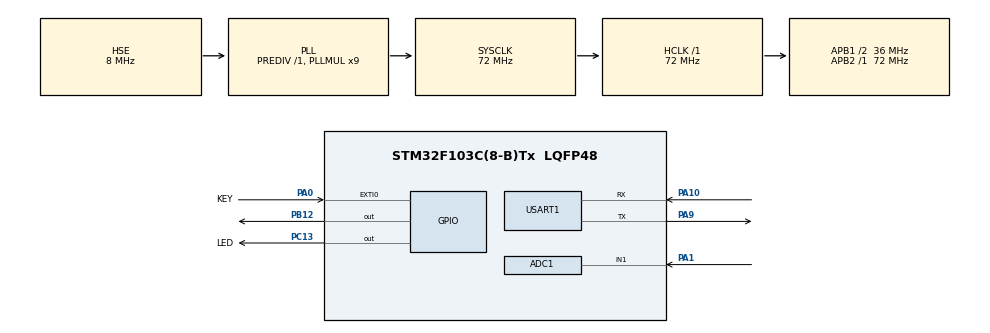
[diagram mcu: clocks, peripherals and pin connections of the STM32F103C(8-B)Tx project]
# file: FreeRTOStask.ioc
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ADC1.Channel-0\#ChannelRegularConversion=ADC_CHANNEL_1
ADC1.NbrOfConversionFlag=1
ADC1.Rank-0\#ChannelRegularConversion=1
ADC1.SamplingTime-0\#ChannelRegularConversion=ADC_SAMPLETIME_1CYCLE_5
ADC1.master=1
FREERTOS.BinarySemaphores01=keySem,Dynamic,NULL,Depleted
FREERTOS.CountingSemaphores01=timSem,5,Dynamic,NULL,0
FREERTOS.Events01=sensorEvent,Dynamic,NULL
FREERTOS.Mutexes01=uartMutex,Dynamic,NULL,Available
FREERTOS.Queues01=adcDataQueue,8,12,1,Dynamic,NULL,NULL;ledCmdQueue,16,uint8_t,0,Dynamic,NULL,NULL
FREERTOS.Tasks01=SampleTask,24,128,StartSampleTask,Default,NULL,Dynamic,NULL,NULL;ProcessTask,40,128,StartProcessTask,Default,NULL,Dynamic,NULL,NULL;LedTask,16,128,StartLedTask,Default,NULL,Dynamic,NULL,NULL;KeyTask,32,128,StartKeyTask,Default,NULL,Dynamic,NULL,NULL
FREERTOS.configTOTAL_HEAP_SIZE=8192
Mcu.Family=STM32F1
Mcu.Name=STM32F103C(8-B)Tx
Mcu.Package=LQFP48
NVIC.EXTI0_IRQn=true\:6\:0\:true\:false\:true\:true\:true\:true\:true
NVIC.PriorityGroup=NVIC_PRIORITYGROUP_4
NVIC.TIM2_IRQn=true\:5\:0\:false\:false\:true\:true\:true\:true\:true
NVIC.TIM3_IRQn=true\:15\:0\:false\:false\:true\:false\:false\:true\:true
NVIC.TimeBase=TIM3_IRQn
NVIC.TimeBaseIP=TIM3
PA0-WKUP.GPIO_Label=KEY
PA0-WKUP.GPIO_ModeDefaultEXTI=GPIO_MODE_IT_FALLING
PA0-WKUP.GPIO_PuPd=GPIO_PULLUP
PA0-WKUP.Signal=GPXTI0
PA1.Signal=ADCx_IN1
PA10.Mode=Asynchronous
PA10.Signal=USART1_RX
PA13.Mode=Serial_Wire
PA13.Signal=SYS_JTMS-SWDIO
PA14.Mode=Serial_Wire
PA14.Signal=SYS_JTCK-SWCLK
PA9.Mode=Asynchronous
PA9.Signal=USART1_TX
PB12.Signal=GPIO_Output
PC13-TAMPER-RTC.GPIO_Label=LED
PC13-TAMPER-RTC.Signal=GPIO_Output
PC14-OSC32_IN.Mode=LSE-External-Oscillator
PC14-OSC32_IN.Signal=RCC_OSC32_IN
PC15-OSC32_OUT.Mode=LSE-External-Oscillator
PC15-OSC32_OUT.Signal=RCC_OSC32_OUT
PD0-OSC_IN.Mode=HSE-External-Oscillator
PD0-OSC_IN.Signal=RCC_OSC_IN
PD1-OSC_OUT.Mode=HSE-External-Oscillator
PD1-OSC_OUT.Signal=RCC_OSC_OUT
ProjectManager.HeapSize=0x200
ProjectManager.StackSize=0x400
ProjectManager.TargetToolchain=CMake
RCC.ADCPresc=RCC_ADCPCLK2_DIV6
RCC.AHBFreq_Value=72000000
RCC.APB1CLKDivider=RCC_HCLK_DIV2
RCC.APB1Freq_Value=36000000
RCC.APB1TimFreq_Value=72000000
RCC.APB2Freq_Value=72000000
RCC.APB2TimFreq_Value=72000000
RCC.HCLKFreq_Value=72000000
RCC.PLLMUL=RCC_PLL_MUL9
RCC.PLLSourceVirtual=RCC_PLLSOURCE_HSE
RCC.SYSCLKFreq_VALUE=72000000
RCC.SYSCLKSource=RCC_SYSCLKSOURCE_PLLCLK
RCC.USBFreq_Value=72000000
SH.ADCx_IN1.0=ADC1_IN1,IN1
TIM2.Period=999
TIM2.Prescaler=7199
USART1.VirtualMode=VM_ASYNC
VP_FREERTOS_VS_CMSIS_V2.Mode=CMSIS_V2
VP_SYS_VS_tim3.Mode=TIM3
VP_TIM2_VS_ClockSourceINT.Mode=Internal
board=custom

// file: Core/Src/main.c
/* USER CODE BEGIN Header */
/**
  ******************************************************************************
  * @file           : main.c
  * @brief          : Main program body
  ******************************************************************************
  * @attention
  *
  * Copyright (c) 2026 STMicroelectronics.
  * All rights reserved.
  *
  * This software is licensed under terms that can be found in the LICENSE file
  * in the root directory of this software component.
  * If no LICENSE file comes with this software, it is provided AS-IS.
  *
  ******************************************************************************
  */
/* USER CODE END Header */
#include "main.h"
#include "cmsis_os.h"
#include "adc.h"
#include "tim.h"
#include "usart.h"
#include "gpio.h"

/* USER CODE BEGIN Includes */
#include "cmsis_os2.h"
#include <stdint.h>
/* USER CODE END Includes */

/* USER CODE BEGIN PV */
extern osSemaphoreId_t keySemHandle;
extern osSemaphoreId_t timSemHandle;

/* USER CODE END PV */

void SystemClock_Config(void);
void MX_FREERTOS_Init(void);

int main(void)
{

  /* MCU Configuration--------------------------------------------------------*/

  /* Reset of all peripherals, Initializes the Flash interface and the Systick. */
  HAL_Init();

  /* Configure the system clock */
  SystemClock_Config();

  /* Initialize all configured peripherals */
  MX_GPIO_Init();
  MX_USART1_UART_Init();
  MX_TIM2_Init();
  MX_ADC1_Init();

  /* Init scheduler */
  osKernelInitialize();  /* Call init function for freertos objects (in cmsis_os2.c) */
  MX_FREERTOS_Init();

  /* Start scheduler */
  osKernelStart();

  /* We should never get here as control is now taken by the scheduler */

  /* Infinite loop */
  while (1)
  {

  }
}

void SystemClock_Config(void)
{
  RCC_OscInitTypeDef RCC_OscInitStruct = {0};
  RCC_ClkInitTypeDef RCC_ClkInitStruct = {0};
  RCC_PeriphCLKInitTypeDef PeriphClkInit = {0};

  /** Initializes the RCC Oscillators according to the specified parameters
  * in the RCC_OscInitTypeDef structure.
  */
  RCC_OscInitStruct.OscillatorType = RCC_OSCILLATORTYPE_HSE;
  RCC_OscInitStruct.HSEState = RCC_HSE_ON;
  RCC_OscInitStruct.HSEPredivValue = RCC_HSE_PREDIV_DIV1;
  RCC_OscInitStruct.HSIState = RCC_HSI_ON;
  RCC_OscInitStruct.PLL.PLLState = RCC_PLL_ON;
  RCC_OscInitStruct.PLL.PLLSource = RCC_PLLSOURCE_HSE;
  RCC_OscInitStruct.PLL.PLLMUL = RCC_PLL_MUL9;
  if (HAL_RCC_OscConfig(&RCC_OscInitStruct) != HAL_OK)
  {
    Error_Handler();
  }

  /** Initializes the CPU, AHB and APB buses clocks
  */
  RCC_ClkInitStruct.ClockType = RCC_CLOCKTYPE_HCLK|RCC_CLOCKTYPE_SYSCLK
                              |RCC_CLOCKTYPE_PCLK1|RCC_CLOCKTYPE_PCLK2;
  RCC_ClkInitStruct.SYSCLKSource = RCC_SYSCLKSOURCE_PLLCLK;
  RCC_ClkInitStruct.AHBCLKDivider = RCC_SYSCLK_DIV1;
  RCC_ClkInitStruct.APB1CLKDivider = RCC_HCLK_DIV2;
  RCC_ClkInitStruct.APB2CLKDivider = RCC_HCLK_DIV1;

  if (HAL_RCC_ClockConfig(&RCC_ClkInitStruct, FLASH_LATENCY_2) != HAL_OK)
  {
    Error_Handler();
  }
  PeriphClkInit.PeriphClockSelection = RCC_PERIPHCLK_ADC;
  PeriphClkInit.AdcClockSelection = RCC_ADCPCLK2_DIV6;
  if (HAL_RCCEx_PeriphCLKConfig(&PeriphClkInit) != HAL_OK)
  {
    Error_Handler();
  }
}

/* USER CODE BEGIN 4 */
void HAL_GPIO_EXTI_Callback(uint16_t GPIO_Pin)
{
    if (GPIO_Pin == KEY_Pin)
    {
        // 确保 RTOS 已启动且句柄有效
        if (keySemHandle != NULL && osKernelGetState() == osKernelRunning)
        {
            osSemaphoreRelease(keySemHandle); // 释放二值信号量
        }
    }
}
/* USER CODE END 4 */

void HAL_TIM_PeriodElapsedCallback(TIM_HandleTypeDef *htim)
{
  if (htim->Instance == TIM3)
  {
    HAL_IncTick();
  }
  /* USER CODE BEGIN Callback 1 */
  if (htim->Instance == TIM2)
  {
    // 释放计数信号量，通知 StartSampleTask 任务去采样
    osSemaphoreRelease(timSemHandle);
  }
  /* USER CODE END Callback 1 */
}

void Error_Handler(void)
{
  __disable_irq();
  while (1)
  {
  }
}

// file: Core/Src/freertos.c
/* USER CODE BEGIN Header */
/**
  ******************************************************************************
  * File Name          : freertos.c
  * Description        : Code for freertos applications
  ******************************************************************************
  * @attention
  *
  * Copyright (c) 2026 STMicroelectronics.
  * All rights reserved.
  *
  * This software is licensed under terms that can be found in the LICENSE file
  * in the root directory of this software component.
  * If no LICENSE file comes with this software, it is provided AS-IS.
  *
  ******************************************************************************
  */
/* USER CODE END Header */

#include "FreeRTOS.h"
#include "task.h"
#include "main.h"
#include "cmsis_os.h"

/* USER CODE BEGIN Includes */
#include "usart.h"
#include <stdint.h>
#include <stdio.h>
#include <string.h>
#include "tim.h"
#include "adc.h"
/* USER CODE END Includes */

/* USER CODE BEGIN PTD */
typedef struct
{
    uint16_t adc_val;
    float voltage;
    uint32_t timestamp;
} ADC_Data_t;
volatile uint32_t g_sentCount = 0;
volatile uint32_t g_processedCount = 0;
volatile uint32_t g_queueFullCount = 0;
volatile uint32_t g_adcErrorCount = 0;
volatile uint32_t g_lastVoltageMv = 0;
volatile uint32_t g_uartTxErrorCount = 0;
#define EVT_DATA_READY  (1U << 0)
#define EVT_ALARM       (1U << 1)
#define EVT_SYSTEM_READY (1U << 2)
// 初始阈值 1650mV，后续按传感器实测值调整
#define ALARM_THRESHOLD_MV 1650U
/* USER CODE END PTD */

/* Definitions for SampleTask */
osThreadId_t SampleTaskHandle;
const osThreadAttr_t SampleTask_attributes = {
  .name = "SampleTask",
  .stack_size = 128 * 4,
  .priority = (osPriority_t) osPriorityNormal,
};
/* Definitions for ProcessTask */
osThreadId_t ProcessTaskHandle;
const osThreadAttr_t ProcessTask_attributes = {
  .name = "ProcessTask",
  .stack_size = 128 * 4,
  .priority = (osPriority_t) osPriorityHigh,
};
/* Definitions for LedTask */
osThreadId_t LedTaskHandle;
const osThreadAttr_t LedTask_attributes = {
  .name = "LedTask",
  .stack_size = 128 * 4,
  .priority = (osPriority_t) osPriorityBelowNormal,
};
/* Definitions for KeyTask */
osThreadId_t KeyTaskHandle;
const osThreadAttr_t KeyTask_attributes = {
  .name = "KeyTask",
  .stack_size = 128 * 4,
  .priority = (osPriority_t) osPriorityAboveNormal,
};
/* Definitions for adcDataQueue */
osMessageQueueId_t adcDataQueueHandle;
const osMessageQueueAttr_t adcDataQueue_attributes = {
  .name = "adcDataQueue"
};
/* Definitions for ledCmdQueue */
osMessageQueueId_t ledCmdQueueHandle;
const osMessageQueueAttr_t ledCmdQueue_attributes = {
  .name = "ledCmdQueue"
};
/* Definitions for uartMutex */
osMutexId_t uartMutexHandle;
const osMutexAttr_t uartMutex_attributes = {
  .name = "uartMutex"
};
/* Definitions for keySem */
osSemaphoreId_t keySemHandle;
const osSemaphoreAttr_t keySem_attributes = {
  .name = "keySem"
};
/* Definitions for timSem */
osSemaphoreId_t timSemHandle;
const osSemaphoreAttr_t timSem_attributes = {
  .name = "timSem"
};
/* Definitions for sensorEvent */
osEventFlagsId_t sensorEventHandle;
const osEventFlagsAttr_t sensorEvent_attributes = {
  .name = "sensorEvent"
};

/* USER CODE BEGIN FunctionPrototypes */
void App_Log(const char *tag, uint32_t value);

/* USER CODE END FunctionPrototypes */

void StartSampleTask(void *argument);
void StartProcessTask(void *argument);
void StartLedTask(void *argument);
void StartKeyTask(void *argument);

void MX_FREERTOS_Init(void); /* (MISRA C 2004 rule 8.1) */

void MX_FREERTOS_Init(void) {
  /* Create the mutex(es) */
  /* creation of uartMutex */
  uartMutexHandle = osMutexNew(&uartMutex_attributes);

  /* Create the semaphores(s) */
  /* creation of keySem */
  keySemHandle = osSemaphoreNew(1, 0, &keySem_attributes);

  /* creation of timSem */
  timSemHandle = osSemaphoreNew(5, 0, &timSem_attributes);

  /* Create the queue(s) */
  /* creation of adcDataQueue */
  adcDataQueueHandle = osMessageQueueNew (8, 12, &adcDataQueue_attributes);

  /* creation of ledCmdQueue */
  ledCmdQueueHandle = osMessageQueueNew (16, sizeof(uint8_t), &ledCmdQueue_attributes);

  /* Create the thread(s) */
  /* creation of SampleTask */
  SampleTaskHandle = osThreadNew(StartSampleTask, NULL, &SampleTask_attributes);

  /* creation of ProcessTask */
  ProcessTaskHandle = osThreadNew(StartProcessTask, NULL, &ProcessTask_attributes);

  /* creation of LedTask */
  LedTaskHandle = osThreadNew(StartLedTask, NULL, &LedTask_attributes);

  /* creation of KeyTask */
  KeyTaskHandle = osThreadNew(StartKeyTask, NULL, &KeyTask_attributes);

  /* creation of sensorEvent */
  sensorEventHandle = osEventFlagsNew(&sensorEvent_attributes);

}

void StartSampleTask(void *argument)
{
  /* USER CODE BEGIN StartSampleTask */

  ADC_Data_t data;
  // STM32F1 ADC 启动前进行一次校准
  if (HAL_ADCEx_Calibration_Start(&hadc1) != HAL_OK)
  {
      Error_Handler();
  }

  // TIM2 只启动一次
  if (HAL_TIM_Base_Start_IT(&htim2) != HAL_OK)
  {
      Error_Handler();
  }
  /* Infinite loop */
  for(;;)
  {
    if (osSemaphoreAcquire(
                timSemHandle,
                osWaitForever) == osOK)
    {
        if (HAL_ADC_Start(&hadc1) == HAL_OK)
        {
            if (HAL_ADC_PollForConversion(
                    &hadc1, 20) == HAL_OK)//（轮询）函数，专门用来等待 ADC 硬件把模拟信号转换成数字信号
            {
                data.adc_val =
                    (uint16_t)HAL_ADC_GetValue(&hadc1);

                data.voltage =
                    data.adc_val * 3.3f / 4095.0f;

                data.timestamp =
                    osKernelGetTickCount();

                if (osMessageQueuePut(
                        adcDataQueueHandle,
                        &data,
                        0,
                        0) == osOK)
                {
                    g_sentCount++;
                    osEventFlagsSet(sensorEventHandle, EVT_DATA_READY);
                }
                else
                {
                    g_queueFullCount++;
                }
            }
            else
            {
                g_adcErrorCount++;
            }

            HAL_ADC_Stop(&hadc1);
        }
        else
        {
            g_adcErrorCount++;
        }
    }

  }
  /* USER CODE END StartSampleTask */
}

void StartProcessTask(void *argument)
{
  /* USER CODE BEGIN StartProcessTask */
  uint32_t flags;

  ADC_Data_t rxData;

  /* Infinite loop */
  for(;;)
  {
    flags = osEventFlagsWait(
            sensorEventHandle,
            EVT_DATA_READY,
            osFlagsWaitAny,
            osWaitForever);

        if ((flags & osFlagsError) != 0U)
        {
            continue;
        }

        // 2. 一次性处理队列中现有的所有数据
        while (osMessageQueueGet(
                   adcDataQueueHandle,
                   &rxData,
                   NULL,
                   0) == osOK)
        {
            g_processedCount++;

            g_lastVoltageMv =
                (uint32_t)rxData.adc_val
                * 3300U / 4095U;
            App_Log("ADC_mV", g_lastVoltageMv);
            // 3. 判断是否超过报警阈值
            if (g_lastVoltageMv > ALARM_THRESHOLD_MV)
            {
                osEventFlagsSet(
                    sensorEventHandle,
                    EVT_ALARM);
            }
            else
            {
                osEventFlagsClear(
                    sensorEventHandle,
                    EVT_ALARM);
            }
        }
  }
  /* USER CODE END StartProcessTask */
}

void StartLedTask(void *argument)
{
  /* USER CODE BEGIN StartLedTask */
  uint32_t flags;

  uint8_t ledState;

  uint32_t lastBlink = osKernelGetTickCount();

  /* Infinite loop */
  for(;;)
  {
    if (osMessageQueueGet(
            ledCmdQueueHandle,
            &ledState,
            NULL,
            50) == osOK)
    {
        // PC13：低电平点亮
        HAL_GPIO_WritePin(
            LED_GPIO_Port,
            LED_Pin,
            ledState ?
                GPIO_PIN_RESET : GPIO_PIN_SET);
    }

    // 2. 查询报警状态
    flags = osEventFlagsGet(sensorEventHandle);

    if ((flags & osFlagsError) == 0U &&
        (flags & EVT_ALARM) != 0U)
    {
        uint32_t now = osKernelGetTickCount();

        // 每 100 tick 翻转一次
        if ((uint32_t)(now - lastBlink) >= 100U)
        {
            lastBlink = now;

            HAL_GPIO_TogglePin(
                GPIOB,
                GPIO_PIN_12);
        }
    }
    else
    {
        // 无报警时 PB12 熄灭
        HAL_GPIO_WritePin(
            GPIOB,
            GPIO_PIN_12,
            GPIO_PIN_RESET);

        lastBlink = osKernelGetTickCount();
    }
  }
  /* USER CODE END StartLedTask */
}

void StartKeyTask(void *argument)
{
  /* USER CODE BEGIN StartKeyTask */

  uint8_t keyState=0;

  /* Infinite loop */
  for(;;)
  {

    if (osSemaphoreAcquire(
            keySemHandle,
            osWaitForever) == osOK)
    {
      osDelay(20);//消抖延时
      if(HAL_GPIO_ReadPin(KEY_GPIO_Port, KEY_Pin)==GPIO_PIN_RESET)
      {
        keyState = !keyState; // 按下

        if(osMessageQueuePut(
            ledCmdQueueHandle,
            &keyState,
            0,
            0) == osOK)
        {
            App_Log("KEY_STATE", keyState);
        }
      }

    }
  }
  /* USER CODE END StartKeyTask */
}

/* USER CODE BEGIN Application */
void App_Log(const char *tag, uint32_t value)
{
    char buf[96];

    int len = snprintf(
        buf,
        sizeof(buf),
        "[%s] value=%lu\r\n",
        tag,
        (unsigned long)value
    );

    if (len <= 0)
        return;

    if (len >= (int)sizeof(buf))
        len = (int)sizeof(buf) - 1;

    if (osMutexAcquire(uartMutexHandle,
                       osWaitForever) == osOK)
    {
        if (HAL_UART_Transmit(
                &huart1,
                (uint8_t *)buf,
                (uint16_t)len,
                100) != HAL_OK)
        {
            g_uartTxErrorCount++;
        }

        osMutexRelease(uartMutexHandle);
    }
}

/* USER CODE END Application */
